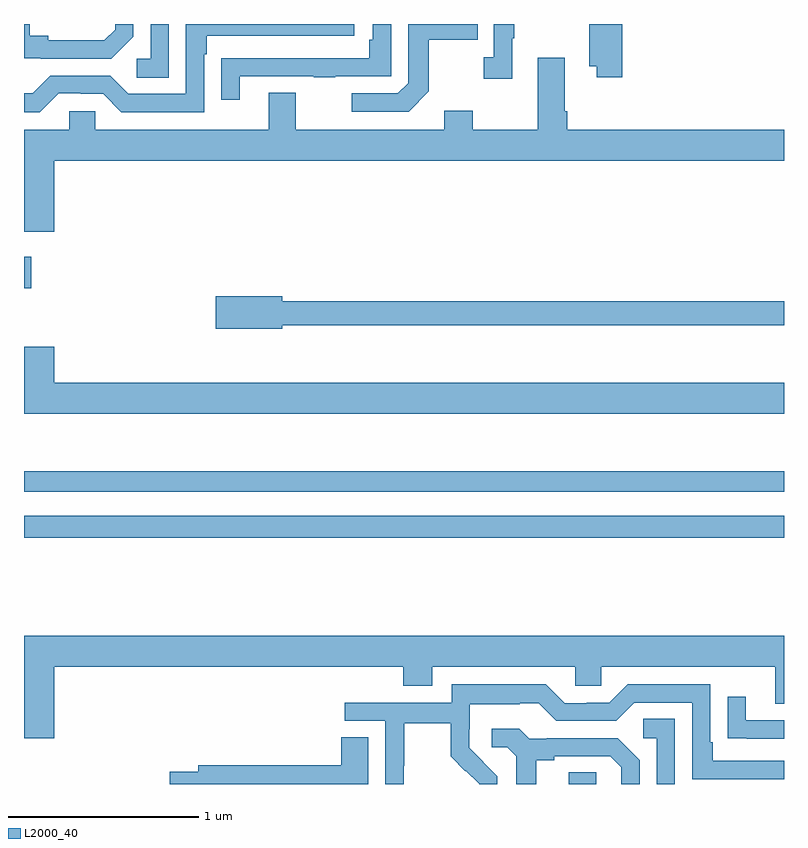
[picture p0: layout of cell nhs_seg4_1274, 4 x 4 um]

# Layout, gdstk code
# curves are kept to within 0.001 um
import gdstk
lib = gdstk.Library(unit=1e-6, precision=1e-09)
def R(c, l, rs):  # rectangles x0, y0, x1, y1
    for r in rs: c.add(gdstk.rectangle(r[:2], r[2:], *l))
def P(c, l, *ps):  # polygons
    for p in ps: c.add(gdstk.Polygon(p, *l))
L2000_40 = (2000, 40)

nhs_seg4_1274 = lib.new_cell('nhs_seg4_1274')
R(nhs_seg4_1274, L2000_40, [(179.867,766.9,180.012,766.961), (177,768.196,181,768.312), (177,768.438,181,768.547), (177,769.51,177.037,769.675), (177.203,770.899,177.348,770.9)])
P(nhs_seg4_1274, L2000_40, [(177.183,770.535),(177.299,770.535),(177.299,770.532),(177.417,770.532),(177.513,770.436),(177.948,770.436),(177.948,770.741),(177.961,770.741),(177.961,770.838),(178.738,770.838),(178.738,770.9),(177.852,770.9),(177.852,770.532),(177.549,770.532),(177.453,770.628),(177.138,770.628),(177.045,770.535),(177,770.535),(177,770.435),(177.083,770.435)],
  [(177.762,770.9),(177.666,770.9),(177.666,770.718),(177.594,770.718),(177.594,770.617),(177.762,770.617)],
  [(180.149,770.9),(179.974,770.9),(179.974,770.678),(180.014,770.678),(180.014,770.619),(180.149,770.619)],
  [(177.576,770.834),(177.576,770.9),(177.479,770.9),(177.479,770.871),(177.422,770.814),(177.127,770.814),(177.127,770.837),(177.031,770.837),(177.031,770.9),(177,770.9),(177,770.721),(177.088,770.721),(177.088,770.718),(177.46,770.718)],
  [(178.135,770.625),(178.525,770.625),(178.525,770.62),(178.637,770.62),(178.637,770.625),(178.932,770.625),(178.932,770.9),(178.836,770.9),(178.836,770.818),(178.816,770.818),(178.816,770.721),(178.141,770.721),(178.141,770.72),(178.039,770.72),(178.039,770.502),(178.135,770.502)],
  [(179.569,770.825),(179.581,770.825),(179.581,770.9),(179.472,770.9),(179.472,770.726),(179.421,770.726),(179.421,770.613),(179.569,770.613)],
  [(179.131,770.545),(179.131,770.818),(179.387,770.818),(179.387,770.9),(179.022,770.9),(179.022,770.589),(178.968,770.535),(178.725,770.535),(178.725,770.439),(179.025,770.439)],
  [(177.16,770.18),(181,770.18),(181,770.344),(179.858,770.344),(179.858,770.44),(179.845,770.44),(179.845,770.722),(179.705,770.722),(179.705,770.344),(179.361,770.344),(179.361,770.443),(179.213,770.443),(179.213,770.344),(178.429,770.344),(178.429,770.539),(178.289,770.539),(178.289,770.344),(177.375,770.344),(177.375,770.442),(177.237,770.442),(177.237,770.344),(177,770.344),(177,769.806),(177.16,769.806)],
  [(178.36,769.314),(181,769.314),(181,769.442),(178.36,769.442),(178.36,769.466),(178.008,769.466),(178.008,769.295),(178.36,769.295)],
  [(181,769.012),(177.16,769.012),(177.16,769.201),(177,769.201),(177,768.848),(181,768.848)],
  [(177.16,767.516),(178.997,767.516),(178.997,767.417),(179.149,767.417),(179.149,767.516),(179.901,767.516),(179.901,767.418),(180.039,767.418),(180.039,767.516),(180.953,767.516),(180.953,767.322),(181,767.322),(181,767.68),(177,767.68),(177,767.142),(177.16,767.142)],
  [(178.998,766.996),(179.001,766.996),(179.001,767.22),(179.245,767.22),(179.245,767.045),(179.322,766.968),(179.325,766.971),(179.396,766.9),(179.49,766.9),(179.49,766.942),(179.344,767.09),(179.344,767.187),(179.346,767.187),(179.346,767.321),(179.609,767.321),(179.609,767.325),(179.709,767.325),(179.802,767.232),(180.117,767.232),(180.213,767.328),(180.516,767.328),(180.516,766.926),(181,766.926),(181,767.022),(180.625,767.022),(180.625,767.119),(180.612,767.119),(180.612,767.424),(180.177,767.424),(180.081,767.328),(179.963,767.328),(179.963,767.325),(179.847,767.325),(179.747,767.425),(179.25,767.425),(179.25,767.328),(178.689,767.328),(178.689,767.232),(178.902,767.232),(178.902,766.9),(178.998,766.9)],
  [(181,767.235),(180.799,767.235),(180.799,767.359),(180.703,767.359),(180.703,767.14),(180.805,767.14),(180.805,767.139),(181,767.139)],
  [(180.426,767.243),(180.258,767.243),(180.258,767.142),(180.33,767.142),(180.33,766.9),(180.426,766.9)],
  [(179.695,767.024),(179.791,767.024),(179.791,767.046),(180.086,767.046),(180.143,766.989),(180.143,766.9),(180.24,766.9),(180.24,767.026),(180.124,767.142),(179.752,767.142),(179.752,767.139),(179.658,767.139),(179.606,767.191),(179.463,767.191),(179.463,767.094),(179.544,767.094),(179.591,767.047),(179.591,766.9),(179.695,766.9)],
  [(178.813,767.147),(178.67,767.147),(178.67,767),(177.917,767),(177.917,766.964),(177.768,766.964),(177.768,766.9),(178.813,766.9)])

lib.write_gds('nhs_seg4_1274.gds')
